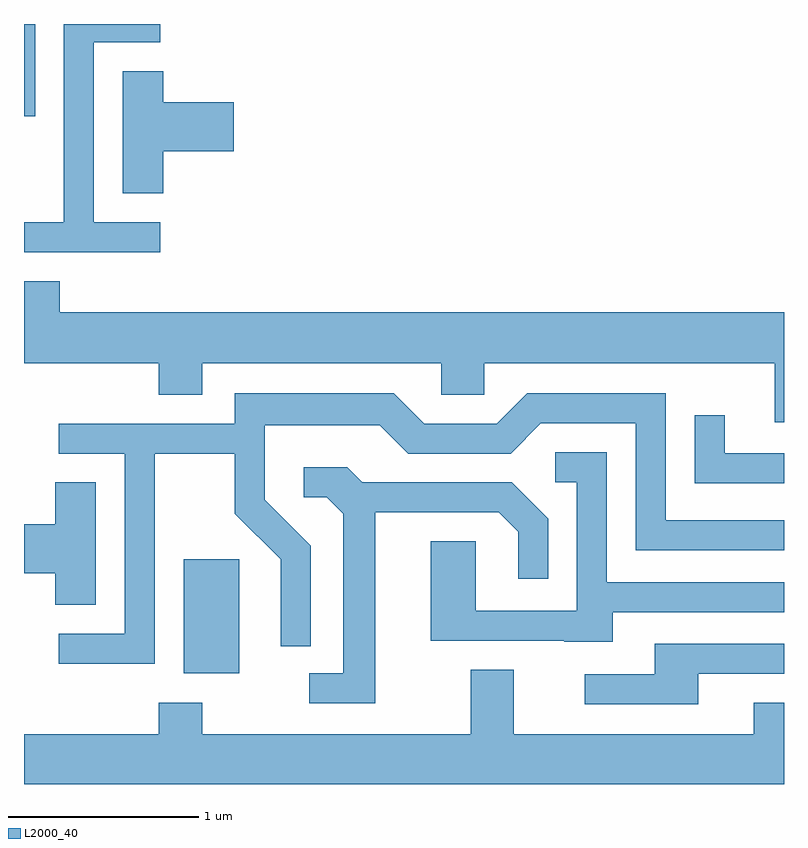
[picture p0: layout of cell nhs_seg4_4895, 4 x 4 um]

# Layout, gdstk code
import gdstk
lib = gdstk.Library(unit=1e-6, precision=1e-09)
def R(c, l, rs):  # rectangles x0, y0, x1, y1
    for r in rs: c.add(gdstk.rectangle(r[:2], r[2:], *l))
def P(c, l, *ps):  # polygons
    for p in ps: c.add(gdstk.Polygon(p, *l))
L2000_40 = (2000, 40)

nhs_seg4_4895 = lib.new_cell('nhs_seg4_4895')
R(nhs_seg4_4895, L2000_40, [(328.451,1388.566,328.744,1389.164), (327.611,1391.496,327.669,1391.982)])
P(nhs_seg4_4895, L2000_40, [(328.328,1390.939),(327.979,1390.939),(327.979,1391.886),(328.328,1391.886),(328.328,1391.982),(327.821,1391.982),(327.821,1390.939),(327.611,1390.939),(327.611,1390.781),(328.328,1390.781)],
  [(328.344,1391.311),(328.714,1391.311),(328.714,1391.569),(328.344,1391.569),(328.344,1391.734),(328.131,1391.734),(328.131,1391.091),(328.344,1391.091)],
  [(331.611,1390.464),(327.799,1390.464),(327.799,1390.629),(327.611,1390.629),(327.611,1390.196),(328.321,1390.196),(328.321,1390.031),(328.549,1390.031),(328.549,1390.196),(329.806,1390.196),(329.806,1390.031),(330.034,1390.031),(330.034,1390.196),(331.561,1390.196),(331.561,1389.886),(331.611,1389.886)],
  [(328.299,1389.721),(328.721,1389.721),(328.721,1389.404),(328.961,1389.164),(328.961,1388.708),(329.119,1388.708),(329.119,1389.237),(328.879,1389.477),(328.879,1389.871),(329.484,1389.871),(329.634,1389.721),(330.172,1389.721),(330.332,1389.881),(330.831,1389.881),(330.831,1389.211),(331.611,1389.211),(331.611,1389.369),(330.989,1389.369),(330.989,1390.039),(330.259,1390.039),(330.099,1389.879),(329.717,1389.879),(329.557,1390.039),(328.721,1390.039),(328.721,1389.879),(327.793,1389.879),(327.793,1389.721),(328.141,1389.721),(328.141,1388.774),(327.793,1388.774),(327.793,1388.616),(328.299,1388.616)],
  [(331.611,1389.724),(331.299,1389.724),(331.299,1389.923),(331.141,1389.923),(331.141,1389.566),(331.611,1389.566)],
  [(330.709,1388.886),(331.611,1388.886),(331.611,1389.044),(330.679,1389.044),(330.679,1389.729),(330.408,1389.729),(330.408,1389.571),(330.521,1389.571),(330.521,1388.894),(329.989,1388.894),(329.989,1389.259),(329.751,1389.259),(329.751,1388.736),(330.455,1388.736),(330.455,1388.731),(330.709,1388.731)],
  [(329.459,1389.411),(330.109,1389.411),(330.211,1389.309),(330.211,1389.063),(330.369,1389.063),(330.369,1389.377),(330.177,1389.569),(329.392,1389.569),(329.312,1389.649),(329.083,1389.649),(329.083,1389.491),(329.204,1389.491),(329.291,1389.404),(329.291,1388.564),(329.113,1388.564),(329.113,1388.406),(329.459,1388.406)],
  [(327.989,1389.569),(327.776,1389.569),(327.776,1389.349),(327.611,1389.349),(327.611,1389.091),(327.776,1389.091),(327.776,1388.926),(327.989,1388.926)],
  [(331.159,1388.561),(331.611,1388.561),(331.611,1388.719),(330.931,1388.719),(330.931,1388.559),(330.563,1388.559),(330.563,1388.401),(331.159,1388.401)],
  [(331.611,1388.409),(331.451,1388.409),(331.451,1388.244),(330.189,1388.244),(330.189,1388.584),(329.961,1388.584),(329.961,1388.244),(328.549,1388.244),(328.549,1388.409),(328.321,1388.409),(328.321,1388.244),(327.611,1388.244),(327.611,1387.982),(331.611,1387.982)])

lib.write_gds('nhs_seg4_4895.gds')
